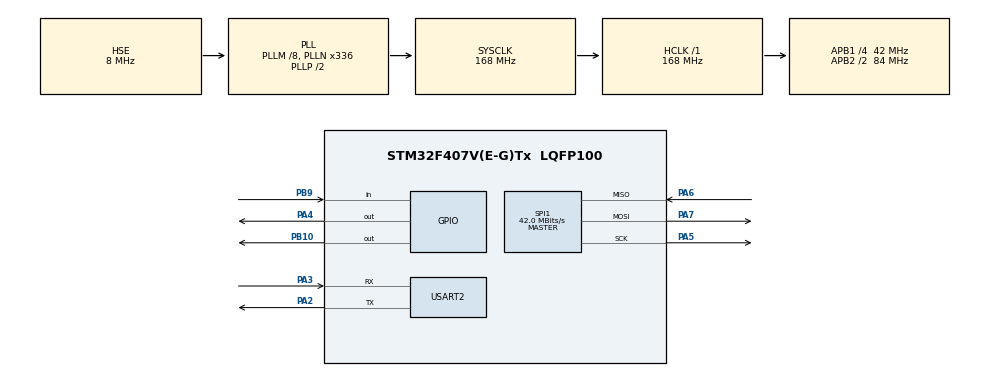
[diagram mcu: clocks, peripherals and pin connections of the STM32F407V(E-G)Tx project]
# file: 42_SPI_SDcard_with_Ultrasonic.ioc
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Mcu.Family=STM32F4
Mcu.Name=STM32F407V(E-G)Tx
Mcu.Package=LQFP100
NVIC.PriorityGroup=NVIC_PRIORITYGROUP_0
PA2.Mode=Asynchronous
PA2.Signal=USART2_TX
PA3.Mode=Asynchronous
PA3.Signal=USART2_RX
PA4.Signal=GPIO_Output
PA5.Mode=Full_Duplex_Master
PA5.Signal=SPI1_SCK
PA6.Mode=Full_Duplex_Master
PA6.Signal=SPI1_MISO
PA7.Mode=Full_Duplex_Master
PA7.Signal=SPI1_MOSI
PB10.Signal=GPIO_Output
PB9.Signal=GPIO_Input
PH0-OSC_IN.Mode=HSE-External-Oscillator
PH0-OSC_IN.Signal=RCC_OSC_IN
PH1-OSC_OUT.Mode=HSE-External-Oscillator
PH1-OSC_OUT.Signal=RCC_OSC_OUT
ProjectManager.HeapSize=0x200
ProjectManager.StackSize=0x400
ProjectManager.TargetToolchain=STM32CubeIDE
RCC.48MHZClocksFreq_Value=48000000
RCC.AHBFreq_Value=168000000
RCC.APB1CLKDivider=RCC_HCLK_DIV4
RCC.APB1Freq_Value=42000000
RCC.APB1TimFreq_Value=84000000
RCC.APB2CLKDivider=RCC_HCLK_DIV2
RCC.APB2Freq_Value=84000000
RCC.APB2TimFreq_Value=168000000
RCC.CortexFreq_Value=168000000
RCC.HCLKFreq_Value=168000000
RCC.HSE_VALUE=8000000
RCC.HSI_VALUE=16000000
RCC.PLLM=8
RCC.PLLN=336
RCC.PLLQ=7
RCC.PLLSourceVirtual=RCC_PLLSOURCE_HSE
RCC.SYSCLKFreq_VALUE=168000000
RCC.SYSCLKSource=RCC_SYSCLKSOURCE_PLLCLK
RCC.VCOOutputFreq_Value=336000000
SPI1.CalculateBaudRate=42.0 MBits/s
SPI1.Direction=SPI_DIRECTION_2LINES
SPI1.Mode=SPI_MODE_MASTER
SPI1.VirtualType=VM_MASTER
USART2.VirtualMode=VM_ASYNC
VP_FATFS_VS_Generic.Mode=User_defined
VP_TIM3_VS_ClockSourceINT.Mode=Internal
board=STM32F407G-DISC1

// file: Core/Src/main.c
/* USER CODE BEGIN Header */
/* USER CODE END Header */
#include "main.h"
#include "fatfs.h"
#include "stdio.h"
#include "string.h"

/* USER CODE BEGIN PD */
#define TRIG_PORT GPIOB
#define TRIG_PIN  GPIO_PIN_10

#define ECHO_PORT GPIOB
#define ECHO_PIN  GPIO_PIN_9
/* USER CODE END PD */

SPI_HandleTypeDef hspi1;

TIM_HandleTypeDef htim3;

UART_HandleTypeDef huart2;

/* USER CODE BEGIN PV */
FATFS fs;
FIL fil;
FRESULT fres;
UINT bw;

char uart_buf[100];
/* USER CODE END PV */

void SystemClock_Config(void);
static void MX_GPIO_Init(void);
static void MX_SPI1_Init(void);
static void MX_TIM3_Init(void);
static void MX_USART2_UART_Init(void);
void delay_us(uint16_t us);
int get_distance(void);
void UART_Print(char *msg);

/* USER CODE BEGIN 0 */
void UART_Print(char *msg)
{
    HAL_UART_Transmit(&huart2,
                     (uint8_t*)msg,
                     strlen(msg),
                     HAL_MAX_DELAY);
}

void delay_us(uint16_t us)
{
    __HAL_TIM_SET_COUNTER(&htim3,0);

    while(__HAL_TIM_GET_COUNTER(&htim3) < us);
}

int get_distance(void)
{
    uint32_t duration;

    HAL_GPIO_WritePin(TRIG_PORT,TRIG_PIN,GPIO_PIN_RESET);
    delay_us(2);

    HAL_GPIO_WritePin(TRIG_PORT,TRIG_PIN,GPIO_PIN_SET);
    delay_us(10);

    HAL_GPIO_WritePin(TRIG_PORT,TRIG_PIN,GPIO_PIN_RESET);

    while(HAL_GPIO_ReadPin(ECHO_PORT,ECHO_PIN)==GPIO_PIN_RESET);

    __HAL_TIM_SET_COUNTER(&htim3,0);

    while(HAL_GPIO_ReadPin(ECHO_PORT,ECHO_PIN)==GPIO_PIN_SET);

    duration = __HAL_TIM_GET_COUNTER(&htim3);

    return duration/58;
}
/* USER CODE END 0 */

int main(void)
{

  /* MCU Configuration--------------------------------------------------------*/

  /* Reset of all peripherals, Initializes the Flash interface and the Systick. */
  HAL_Init();

  /* Configure the system clock */
  SystemClock_Config();

  /* Initialize all configured peripherals */
  MX_GPIO_Init();
  MX_SPI1_Init();
  MX_TIM3_Init();
  MX_USART2_UART_Init();
  MX_FATFS_Init();
  /* USER CODE BEGIN 2 */
  HAL_TIM_Base_Start(&htim3);

  UART_Print("System Started\r\n");

  fres = f_mount(&fs,"",1);

  if(fres == FR_OK)
  {
      UART_Print("SD Card Mounted\r\n");
  }
  else
  {
      UART_Print("SD Card Mounted FAIL\r\n");
  }
  /* USER CODE END 2 */

  /* Infinite loop */

    /* USER CODE BEGIN 3 */
  while(1)
  {
      int distance = get_distance();

      sprintf(uart_buf,
              "Distance = %d cm\r\n",
              distance);

      UART_Print(uart_buf);

      fres = f_open(&fil,
                    "distance.txt",
                    FA_OPEN_APPEND | FA_WRITE);

      if(fres == FR_OK)
      {
          f_write(&fil,
                  uart_buf,
                  strlen(uart_buf),
                  &bw);

          f_close(&fil);
      }

      HAL_Delay(1000);
  }
  /* USER CODE END 3 */
}

void SystemClock_Config(void)
{
  RCC_OscInitTypeDef RCC_OscInitStruct = {0};
  RCC_ClkInitTypeDef RCC_ClkInitStruct = {0};

  /** Configure the main internal regulator output voltage
  */
  __HAL_RCC_PWR_CLK_ENABLE();
  __HAL_PWR_VOLTAGESCALING_CONFIG(PWR_REGULATOR_VOLTAGE_SCALE1);

  /** Initializes the RCC Oscillators according to the specified parameters
  * in the RCC_OscInitTypeDef structure.
  */
  RCC_OscInitStruct.OscillatorType = RCC_OSCILLATORTYPE_HSE;
  RCC_OscInitStruct.HSEState = RCC_HSE_ON;
  RCC_OscInitStruct.PLL.PLLState = RCC_PLL_ON;
  RCC_OscInitStruct.PLL.PLLSource = RCC_PLLSOURCE_HSE;
  RCC_OscInitStruct.PLL.PLLM = 8;
  RCC_OscInitStruct.PLL.PLLN = 336;
  RCC_OscInitStruct.PLL.PLLP = RCC_PLLP_DIV2;
  RCC_OscInitStruct.PLL.PLLQ = 7;
  if (HAL_RCC_OscConfig(&RCC_OscInitStruct) != HAL_OK)
  {
    Error_Handler();
  }

  /** Initializes the CPU, AHB and APB buses clocks
  */
  RCC_ClkInitStruct.ClockType = RCC_CLOCKTYPE_HCLK|RCC_CLOCKTYPE_SYSCLK
                              |RCC_CLOCKTYPE_PCLK1|RCC_CLOCKTYPE_PCLK2;
  RCC_ClkInitStruct.SYSCLKSource = RCC_SYSCLKSOURCE_PLLCLK;
  RCC_ClkInitStruct.AHBCLKDivider = RCC_SYSCLK_DIV1;
  RCC_ClkInitStruct.APB1CLKDivider = RCC_HCLK_DIV4;
  RCC_ClkInitStruct.APB2CLKDivider = RCC_HCLK_DIV2;

  if (HAL_RCC_ClockConfig(&RCC_ClkInitStruct, FLASH_LATENCY_5) != HAL_OK)
  {
    Error_Handler();
  }
}

static void MX_SPI1_Init(void)
{

  /* SPI1 parameter configuration*/
  hspi1.Instance = SPI1;
  hspi1.Init.Mode = SPI_MODE_MASTER;
  hspi1.Init.Direction = SPI_DIRECTION_2LINES;
  hspi1.Init.DataSize = SPI_DATASIZE_8BIT;
  hspi1.Init.CLKPolarity = SPI_POLARITY_LOW;
  hspi1.Init.CLKPhase = SPI_PHASE_1EDGE;
  hspi1.Init.NSS = SPI_NSS_SOFT;
  hspi1.Init.BaudRatePrescaler = SPI_BAUDRATEPRESCALER_2;
  hspi1.Init.FirstBit = SPI_FIRSTBIT_MSB;
  hspi1.Init.TIMode = SPI_TIMODE_DISABLE;
  hspi1.Init.CRCCalculation = SPI_CRCCALCULATION_DISABLE;
  hspi1.Init.CRCPolynomial = 10;
  if (HAL_SPI_Init(&hspi1) != HAL_OK)
  {
    Error_Handler();
  }

}

static void MX_TIM3_Init(void)
{

  TIM_ClockConfigTypeDef sClockSourceConfig = {0};
  TIM_MasterConfigTypeDef sMasterConfig = {0};

  htim3.Instance = TIM3;
  htim3.Init.Prescaler =  84-1;
  htim3.Init.CounterMode = TIM_COUNTERMODE_UP;
  htim3.Init.Period = 65535;
  htim3.Init.ClockDivision = TIM_CLOCKDIVISION_DIV1;
  htim3.Init.AutoReloadPreload = TIM_AUTORELOAD_PRELOAD_DISABLE;
  if (HAL_TIM_Base_Init(&htim3) != HAL_OK)
  {
    Error_Handler();
  }
  sClockSourceConfig.ClockSource = TIM_CLOCKSOURCE_INTERNAL;
  if (HAL_TIM_ConfigClockSource(&htim3, &sClockSourceConfig) != HAL_OK)
  {
    Error_Handler();
  }
  sMasterConfig.MasterOutputTrigger = TIM_TRGO_RESET;
  sMasterConfig.MasterSlaveMode = TIM_MASTERSLAVEMODE_DISABLE;
  if (HAL_TIMEx_MasterConfigSynchronization(&htim3, &sMasterConfig) != HAL_OK)
  {
    Error_Handler();
  }

}

static void MX_USART2_UART_Init(void)
{

  huart2.Instance = USART2;
  huart2.Init.BaudRate = 115200;
  huart2.Init.WordLength = UART_WORDLENGTH_8B;
  huart2.Init.StopBits = UART_STOPBITS_1;
  huart2.Init.Parity = UART_PARITY_NONE;
  huart2.Init.Mode = UART_MODE_TX_RX;
  huart2.Init.HwFlowCtl = UART_HWCONTROL_NONE;
  huart2.Init.OverSampling = UART_OVERSAMPLING_16;
  if (HAL_UART_Init(&huart2) != HAL_OK)
  {
    Error_Handler();
  }

}

static void MX_GPIO_Init(void)
{
  GPIO_InitTypeDef GPIO_InitStruct = {0};

  /* GPIO Ports Clock Enable */
  __HAL_RCC_GPIOH_CLK_ENABLE();
  __HAL_RCC_GPIOA_CLK_ENABLE();
  __HAL_RCC_GPIOB_CLK_ENABLE();

  /*Configure GPIO pin Output Level */
  HAL_GPIO_WritePin(GPIOA, GPIO_PIN_4, GPIO_PIN_RESET);

  /*Configure GPIO pin Output Level */
  HAL_GPIO_WritePin(GPIOB, GPIO_PIN_10, GPIO_PIN_RESET);

  /*Configure GPIO pin : PA4 */
  GPIO_InitStruct.Pin = GPIO_PIN_4;
  GPIO_InitStruct.Mode = GPIO_MODE_OUTPUT_PP;
  GPIO_InitStruct.Pull = GPIO_NOPULL;
  GPIO_InitStruct.Speed = GPIO_SPEED_FREQ_LOW;
  HAL_GPIO_Init(GPIOA, &GPIO_InitStruct);

  /*Configure GPIO pin : PB10 */
  GPIO_InitStruct.Pin = GPIO_PIN_10;
  GPIO_InitStruct.Mode = GPIO_MODE_OUTPUT_PP;
  GPIO_InitStruct.Pull = GPIO_NOPULL;
  GPIO_InitStruct.Speed = GPIO_SPEED_FREQ_LOW;
  HAL_GPIO_Init(GPIOB, &GPIO_InitStruct);

  /*Configure GPIO pin : PB9 */
  GPIO_InitStruct.Pin = GPIO_PIN_9;
  GPIO_InitStruct.Mode = GPIO_MODE_INPUT;
  GPIO_InitStruct.Pull = GPIO_NOPULL;
  HAL_GPIO_Init(GPIOB, &GPIO_InitStruct);

}

void Error_Handler(void)
{
}
